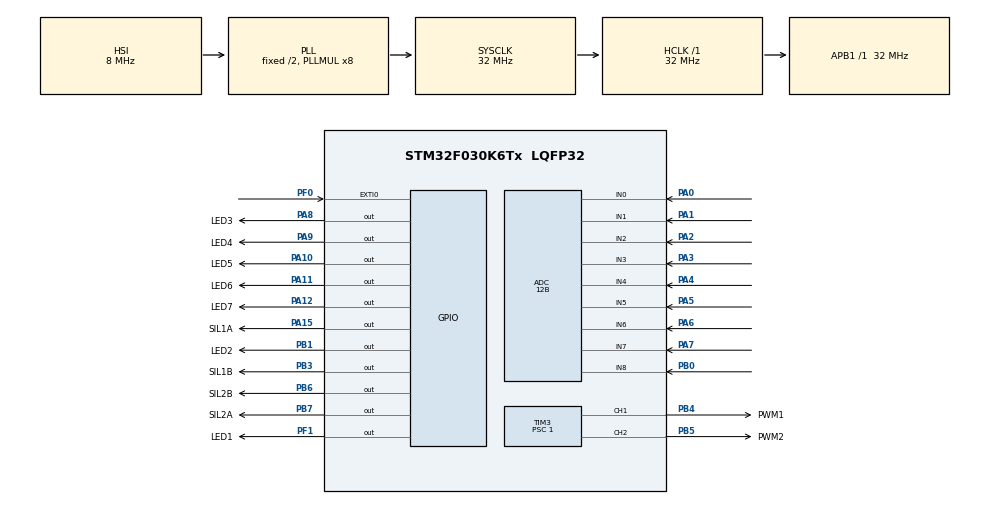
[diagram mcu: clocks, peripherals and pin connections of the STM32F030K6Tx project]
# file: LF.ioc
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ADC.ClockPrescaler=ADC_CLOCK_ASYNC_DIV1
ADC.ContinuousConvMode=ENABLE
ADC.DMAContinuousRequests=ENABLE
ADC.DataAlign=ADC_DATAALIGN_RIGHT
ADC.DiscontinuousConvMode=DISABLE
ADC.EOCSelection=ADC_EOC_SEQ_CONV
ADC.EnableAnalogWatchDog=false
ADC.ExternalTrigConv=ADC_SOFTWARE_START
ADC.ExternalTrigConvEdge=ADC_EXTERNALTRIGCONVEDGE_NONE
ADC.LowPowerAutoPowerOff=DISABLE
ADC.LowPowerAutoWait=DISABLE
ADC.Overrun=ADC_OVR_DATA_PRESERVED
ADC.Resolution=ADC_RESOLUTION_12B
ADC.SamplingTime=ADC_SAMPLETIME_239CYCLES_5
ADC.ScanConvMode=ADC_SCAN_DIRECTION_FORWARD
Dma.ADC.0.Direction=DMA_PERIPH_TO_MEMORY
Dma.ADC.0.Instance=DMA1_Channel1
Dma.ADC.0.MemDataAlignment=DMA_MDATAALIGN_HALFWORD
Dma.ADC.0.MemInc=DMA_MINC_ENABLE
Dma.ADC.0.Mode=DMA_CIRCULAR
Dma.ADC.0.PeriphDataAlignment=DMA_PDATAALIGN_HALFWORD
Dma.ADC.0.PeriphInc=DMA_PINC_DISABLE
Dma.ADC.0.Priority=DMA_PRIORITY_LOW
Dma.Request0=ADC
Mcu.Family=STM32F0
Mcu.Name=STM32F030K6Tx
Mcu.Package=LQFP32
NVIC.DMA1_Channel1_IRQn=true\:0\:0\:false\:false\:true
PA0.Mode=IN0
PA0.Signal=ADC_IN0
PA1.Mode=IN1
PA1.Signal=ADC_IN1
PA10.GPIO_FMA10=__NULL
PA10.GPIO_Label=LED5
PA10.GPIO_ModeDefaultOutputPP=GPIO_MODE_OUTPUT_PP
PA10.GPIO_PuPd=GPIO_NOPULL
PA10.GPIO_Speed=GPIO_SPEED_FREQ_LOW
PA10.PinState=GPIO_PIN_RESET
PA10.Signal=GPIO_Output
PA11.GPIO_Label=LED6
PA11.GPIO_ModeDefaultOutputPP=GPIO_MODE_OUTPUT_PP
PA11.GPIO_PuPd=GPIO_NOPULL
PA11.GPIO_Speed=GPIO_SPEED_FREQ_LOW
PA11.PinState=GPIO_PIN_RESET
PA11.Signal=GPIO_Output
PA12.GPIO_Label=LED7
PA12.GPIO_ModeDefaultOutputPP=GPIO_MODE_OUTPUT_PP
PA12.GPIO_PuPd=GPIO_NOPULL
PA12.GPIO_Speed=GPIO_SPEED_FREQ_LOW
PA12.PinState=GPIO_PIN_RESET
PA12.Signal=GPIO_Output
PA13.Mode=Serial_Wire
PA13.Signal=SYS_SWDIO
PA14.Mode=Serial_Wire
PA14.Signal=SYS_SWCLK
PA15.GPIO_Label=SIL1A
PA15.GPIO_ModeDefaultOutputPP=GPIO_MODE_OUTPUT_PP
PA15.GPIO_PuPd=GPIO_NOPULL
PA15.GPIO_Speed=GPIO_SPEED_FREQ_LOW
PA15.PinState=GPIO_PIN_RESET
PA15.Signal=GPIO_Output
PA2.Mode=IN2
PA2.Signal=ADC_IN2
PA3.Mode=IN3
PA3.Signal=ADC_IN3
PA4.Mode=IN4
PA4.Signal=ADC_IN4
PA5.Mode=IN5
PA5.Signal=ADC_IN5
PA6.Mode=IN6
PA6.Signal=ADC_IN6
PA7.Mode=IN7
PA7.Signal=ADC_IN7
PA8.GPIO_Label=LED3
PA8.GPIO_ModeDefaultOutputPP=GPIO_MODE_OUTPUT_PP
PA8.GPIO_PuPd=GPIO_NOPULL
PA8.GPIO_Speed=GPIO_SPEED_FREQ_LOW
PA8.PinState=GPIO_PIN_RESET
PA8.Signal=GPIO_Output
PA9.GPIO_FMA9=__NULL
PA9.GPIO_Label=LED4
PA9.GPIO_ModeDefaultOutputPP=GPIO_MODE_OUTPUT_PP
PA9.GPIO_PuPd=GPIO_NOPULL
PA9.GPIO_Speed=GPIO_SPEED_FREQ_LOW
PA9.PinState=GPIO_PIN_RESET
PA9.Signal=GPIO_Output
PB0.Mode=IN8
PB0.Signal=ADC_IN8
PB1.GPIO_Label=LED2
PB1.Signal=GPIO_Output
PB3.GPIO_Label=SIL1B
PB3.GPIO_ModeDefaultOutputPP=GPIO_MODE_OUTPUT_PP
PB3.GPIO_PuPd=GPIO_NOPULL
PB3.GPIO_Speed=GPIO_SPEED_FREQ_LOW
PB3.PinState=GPIO_PIN_RESET
PB3.Signal=GPIO_Output
PB4.GPIO_Label=PWM1
PB4.GPIO_ModeDefaultPP=GPIO_MODE_AF_PP
PB4.GPIO_PuPd=GPIO_NOPULL
PB4.GPIO_Speed=GPIO_SPEED_FREQ_LOW
PB4.Signal=S_TIM3_CH1
PB5.GPIO_Label=PWM2
PB5.GPIO_ModeDefaultPP=GPIO_MODE_AF_PP
PB5.GPIO_PuPd=GPIO_NOPULL
PB5.GPIO_Speed=GPIO_SPEED_FREQ_LOW
PB5.Signal=S_TIM3_CH2
PB6.GPIO_FM6=__NULL
PB6.GPIO_Label=SIL2B
PB6.GPIO_ModeDefaultOutputPP=GPIO_MODE_OUTPUT_PP
PB6.GPIO_PuPd=GPIO_NOPULL
PB6.GPIO_Speed=GPIO_SPEED_FREQ_LOW
PB6.PinState=GPIO_PIN_RESET
PB6.Signal=GPIO_Output
PB7.GPIO_FM7=__NULL
PB7.GPIO_Label=SIL2A
PB7.GPIO_ModeDefaultOutputPP=GPIO_MODE_OUTPUT_PP
PB7.GPIO_PuPd=GPIO_NOPULL
PB7.GPIO_Speed=GPIO_SPEED_FREQ_LOW
PB7.PinState=GPIO_PIN_RESET
PB7.Signal=GPIO_Output
PF0-OSC_IN.GPIO_ModeDefaultEXTI=GPIO_MODE_IT_RISING
PF0-OSC_IN.GPIO_PuPd=GPIO_NOPULL
PF0-OSC_IN.Signal=GPXTI0
PF1-OSC_OUT.GPIO_Label=LED1
PF1-OSC_OUT.GPIO_ModeDefaultOutputPP=GPIO_MODE_OUTPUT_PP
PF1-OSC_OUT.GPIO_PuPd=GPIO_NOPULL
PF1-OSC_OUT.GPIO_Speed=GPIO_SPEED_FREQ_LOW
PF1-OSC_OUT.PinState=GPIO_PIN_RESET
PF1-OSC_OUT.Signal=GPIO_Output
ProjectManager.HeapSize=0x200
ProjectManager.StackSize=0x400
ProjectManager.TargetToolchain=SW4STM32
RCC.AHBFreq_Value=32000000
RCC.APB1Freq_Value=32000000
RCC.APB1TimFreq_Value=32000000
RCC.HCLKFreq_Value=32000000
RCC.PLLMUL=RCC_PLL_MUL8
RCC.SYSCLKFreq_VALUE=32000000
RCC.SYSCLKSource=RCC_SYSCLKSOURCE_PLLCLK
SH.S_TIM3_CH1.0=TIM3_CH1,PWM Generation1 CH1
SH.S_TIM3_CH2.0=TIM3_CH2,PWM Generation2 CH2
TIM3.AutoReloadPreload=TIM_AUTORELOAD_PRELOAD_DISABLE
TIM3.Channel-PWM\ Generation2\ CH2=TIM_CHANNEL_2
TIM3.Period=99
TIM3.Prescaler=1
TIM3.TIM_MasterOutputTrigger=TIM_TRGO_OC1
VP_TIM3_VS_ClockSourceINT.Mode=Internal
board=LF

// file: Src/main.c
/**
  ******************************************************************************
  * File Name          : main.c
  * Description        : Main program body
  ******************************************************************************
  *
  * COPYRIGHT(c) 2016 STMicroelectronics
  *
  * Redistribution and use in source and binary forms, with or without modification,
  * are permitted provided that the following conditions are met:
  *   1. Redistributions of source code must retain the above copyright notice,
  *      this list of conditions and the following disclaimer.
  *   2. Redistributions in binary form must reproduce the above copyright notice,
  *      this list of conditions and the following disclaimer in the documentation
  *      and/or other materials provided with the distribution.
  *   3. Neither the name of STMicroelectronics nor the names of its contributors
  *      may be used to endorse or promote products derived from this software
  *      without specific prior written permission.
  *
  * THIS SOFTWARE IS PROVIDED BY THE COPYRIGHT HOLDERS AND CONTRIBUTORS "AS IS"
  * AND ANY EXPRESS OR IMPLIED WARRANTIES, INCLUDING, BUT NOT LIMITED TO, THE
  * IMPLIED WARRANTIES OF MERCHANTABILITY AND FITNESS FOR A PARTICULAR PURPOSE ARE
  * DISCLAIMED. IN NO EVENT SHALL THE COPYRIGHT HOLDER OR CONTRIBUTORS BE LIABLE
  * FOR ANY DIRECT, INDIRECT, INCIDENTAL, SPECIAL, EXEMPLARY, OR CONSEQUENTIAL
  * DAMAGES (INCLUDING, BUT NOT LIMITED TO, PROCUREMENT OF SUBSTITUTE GOODS OR
  * SERVICES; LOSS OF USE, DATA, OR PROFITS; OR BUSINESS INTERRUPTION) HOWEVER
  * CAUSED AND ON ANY THEORY OF LIABILITY, WHETHER IN CONTRACT, STRICT LIABILITY,
  * OR TORT (INCLUDING NEGLIGENCE OR OTHERWISE) ARISING IN ANY WAY OUT OF THE USE
  * OF THIS SOFTWARE, EVEN IF ADVISED OF THE POSSIBILITY OF SUCH DAMAGE.
  *
  ******************************************************************************
  */
#include "main.h"
#include "stm32f0xx_hal.h"

/* USER CODE BEGIN Includes */

#define KTIR 8

/* USER CODE END Includes */

ADC_HandleTypeDef hadc;
DMA_HandleTypeDef hdma_adc;

TIM_HandleTypeDef htim3;

/* USER CODE BEGIN PV */
/* Private variables ---------------------------------------------------------*/

uint32_t ktiry[KTIR];
int32_t prog = 0;
int16_t waga = {-40, -20, -10, 0, 0, 10, 20, 40};
int err = 0;
int wyjechal = 0;
int bledzik, Kp=1, Kd=0, popbledzik = 0;
int V = 40;

/* USER CODE END PV */

void SystemClock_Config(void);
void Error_Handler(void);
static void MX_GPIO_Init(void);
static void MX_DMA_Init(void);
static void MX_ADC_Init(void);
static void MX_TIM3_Init(void);

void HAL_TIM_MspPostInit(TIM_HandleTypeDef *htim);

/* USER CODE BEGIN PFP */
/* Private function prototypes -----------------------------------------------*/

void PWM(uint16_t r, uint16_t l);
int16_t blad();
int PD();
void kalibracja();
void odczyt();

/* USER CODE END PFP */

int main(void)
{

  /* MCU Configuration----------------------------------------------------------*/

  /* Reset of all peripherals, Initializes the Flash interface and the Systick. */
  HAL_Init();

  /* Configure the system clock */
  SystemClock_Config();

  /* Initialize all configured peripherals */
  MX_GPIO_Init();
  MX_DMA_Init();
  MX_ADC_Init();
  MX_TIM3_Init();

  /* USER CODE BEGIN 2 */

  HAL_TIM_PWM_Start(&htim3, TIM_CHANNEL_1);
  HAL_TIM_PWM_Start(&htim3, TIM_CHANNEL_2);
  HAL_ADC_Start_DMA(&hadc, ktiry, KTIR);

  kalibracja();
  /* USER CODE END 2 */

  /* Infinite loop */
  while (1)
  {

  /* USER CODE BEGIN 3 */
	  odczyt();
  	  bledzik = blad();
	  int regulacja = PD();
	  PWM(V+regulacja, V-regulacja);
  }
  /* USER CODE END 3 */

}

/** System Clock Configuration
*/
void SystemClock_Config(void)
{

  RCC_OscInitTypeDef RCC_OscInitStruct;
  RCC_ClkInitTypeDef RCC_ClkInitStruct;

    /**Initializes the CPU, AHB and APB busses clocks
    */
  RCC_OscInitStruct.OscillatorType = RCC_OSCILLATORTYPE_HSI|RCC_OSCILLATORTYPE_HSI14;
  RCC_OscInitStruct.HSIState = RCC_HSI_ON;
  RCC_OscInitStruct.HSI14State = RCC_HSI14_ON;
  RCC_OscInitStruct.HSICalibrationValue = 16;
  RCC_OscInitStruct.HSI14CalibrationValue = 16;
  RCC_OscInitStruct.PLL.PLLState = RCC_PLL_ON;
  RCC_OscInitStruct.PLL.PLLSource = RCC_PLLSOURCE_HSI;
  RCC_OscInitStruct.PLL.PLLMUL = RCC_PLL_MUL8;
  RCC_OscInitStruct.PLL.PREDIV = RCC_PREDIV_DIV1;
  if (HAL_RCC_OscConfig(&RCC_OscInitStruct) != HAL_OK)
  {
    Error_Handler();
  }

    /**Initializes the CPU, AHB and APB busses clocks
    */
  RCC_ClkInitStruct.ClockType = RCC_CLOCKTYPE_HCLK|RCC_CLOCKTYPE_SYSCLK
                              |RCC_CLOCKTYPE_PCLK1;
  RCC_ClkInitStruct.SYSCLKSource = RCC_SYSCLKSOURCE_PLLCLK;
  RCC_ClkInitStruct.AHBCLKDivider = RCC_SYSCLK_DIV1;
  RCC_ClkInitStruct.APB1CLKDivider = RCC_HCLK_DIV1;

  if (HAL_RCC_ClockConfig(&RCC_ClkInitStruct, FLASH_LATENCY_1) != HAL_OK)
  {
    Error_Handler();
  }

    /**Configure the Systick interrupt time
    */
  HAL_SYSTICK_Config(HAL_RCC_GetHCLKFreq()/1000);

    /**Configure the Systick
    */
  HAL_SYSTICK_CLKSourceConfig(SYSTICK_CLKSOURCE_HCLK);

  /* SysTick_IRQn interrupt configuration */
  HAL_NVIC_SetPriority(SysTick_IRQn, 0, 0);
}

/* ADC init function */
static void MX_ADC_Init(void)
{

  ADC_ChannelConfTypeDef sConfig;

    /**Configure the global features of the ADC (Clock, Resolution, Data Alignment and number of conversion)
    */
  hadc.Instance = ADC1;
  hadc.Init.ClockPrescaler = ADC_CLOCK_ASYNC_DIV1;
  hadc.Init.Resolution = ADC_RESOLUTION_12B;
  hadc.Init.DataAlign = ADC_DATAALIGN_RIGHT;
  hadc.Init.ScanConvMode = ADC_SCAN_DIRECTION_FORWARD;
  hadc.Init.EOCSelection = ADC_EOC_SEQ_CONV;
  hadc.Init.LowPowerAutoWait = DISABLE;
  hadc.Init.LowPowerAutoPowerOff = DISABLE;
  hadc.Init.ContinuousConvMode = ENABLE;
  hadc.Init.DiscontinuousConvMode = DISABLE;
  hadc.Init.ExternalTrigConv = ADC_SOFTWARE_START;
  hadc.Init.ExternalTrigConvEdge = ADC_EXTERNALTRIGCONVEDGE_NONE;
  hadc.Init.DMAContinuousRequests = ENABLE;
  hadc.Init.Overrun = ADC_OVR_DATA_PRESERVED;
  if (HAL_ADC_Init(&hadc) != HAL_OK)
  {
    Error_Handler();
  }

    /**Configure for the selected ADC regular channel to be converted.
    */
  sConfig.Channel = ADC_CHANNEL_0;
  sConfig.Rank = ADC_RANK_CHANNEL_NUMBER;
  sConfig.SamplingTime = ADC_SAMPLETIME_239CYCLES_5;
  if (HAL_ADC_ConfigChannel(&hadc, &sConfig) != HAL_OK)
  {
    Error_Handler();
  }

    /**Configure for the selected ADC regular channel to be converted.
    */
  sConfig.Channel = ADC_CHANNEL_1;
  if (HAL_ADC_ConfigChannel(&hadc, &sConfig) != HAL_OK)
  {
    Error_Handler();
  }

    /**Configure for the selected ADC regular channel to be converted.
    */
  sConfig.Channel = ADC_CHANNEL_2;
  if (HAL_ADC_ConfigChannel(&hadc, &sConfig) != HAL_OK)
  {
    Error_Handler();
  }

    /**Configure for the selected ADC regular channel to be converted.
    */
  sConfig.Channel = ADC_CHANNEL_3;
  if (HAL_ADC_ConfigChannel(&hadc, &sConfig) != HAL_OK)
  {
    Error_Handler();
  }

    /**Configure for the selected ADC regular channel to be converted.
    */
  sConfig.Channel = ADC_CHANNEL_4;
  if (HAL_ADC_ConfigChannel(&hadc, &sConfig) != HAL_OK)
  {
    Error_Handler();
  }

    /**Configure for the selected ADC regular channel to be converted.
    */
  sConfig.Channel = ADC_CHANNEL_5;
  if (HAL_ADC_ConfigChannel(&hadc, &sConfig) != HAL_OK)
  {
    Error_Handler();
  }

    /**Configure for the selected ADC regular channel to be converted.
    */
  sConfig.Channel = ADC_CHANNEL_6;
  if (HAL_ADC_ConfigChannel(&hadc, &sConfig) != HAL_OK)
  {
    Error_Handler();
  }

    /**Configure for the selected ADC regular channel to be converted.
    */
  sConfig.Channel = ADC_CHANNEL_7;
  if (HAL_ADC_ConfigChannel(&hadc, &sConfig) != HAL_OK)
  {
    Error_Handler();
  }

    /**Configure for the selected ADC regular channel to be converted.
    */
  sConfig.Channel = ADC_CHANNEL_8;
  if (HAL_ADC_ConfigChannel(&hadc, &sConfig) != HAL_OK)
  {
    Error_Handler();
  }

}

/* TIM3 init function */
static void MX_TIM3_Init(void)
{

  TIM_ClockConfigTypeDef sClockSourceConfig;
  TIM_MasterConfigTypeDef sMasterConfig;
  TIM_OC_InitTypeDef sConfigOC;

  htim3.Instance = TIM3;
  htim3.Init.Prescaler = 1;
  htim3.Init.CounterMode = TIM_COUNTERMODE_UP;
  htim3.Init.Period = 99;
  htim3.Init.ClockDivision = TIM_CLOCKDIVISION_DIV1;
//  htim3.Init.AutoReloadPreload = TIM_AUTORELOAD_PRELOAD_DISABLE;
  if (HAL_TIM_Base_Init(&htim3) != HAL_OK)
  {
    Error_Handler();
  }

  sClockSourceConfig.ClockSource = TIM_CLOCKSOURCE_INTERNAL;
  if (HAL_TIM_ConfigClockSource(&htim3, &sClockSourceConfig) != HAL_OK)
  {
    Error_Handler();
  }

  if (HAL_TIM_PWM_Init(&htim3) != HAL_OK)
  {
    Error_Handler();
  }

  sMasterConfig.MasterOutputTrigger = TIM_TRGO_OC1;
  sMasterConfig.MasterSlaveMode = TIM_MASTERSLAVEMODE_DISABLE;
  if (HAL_TIMEx_MasterConfigSynchronization(&htim3, &sMasterConfig) != HAL_OK)
  {
    Error_Handler();
  }

  sConfigOC.OCMode = TIM_OCMODE_PWM1;
  sConfigOC.Pulse = 0;
  sConfigOC.OCPolarity = TIM_OCPOLARITY_HIGH;
  sConfigOC.OCFastMode = TIM_OCFAST_DISABLE;
  if (HAL_TIM_PWM_ConfigChannel(&htim3, &sConfigOC, TIM_CHANNEL_1) != HAL_OK)
  {
    Error_Handler();
  }

  if (HAL_TIM_PWM_ConfigChannel(&htim3, &sConfigOC, TIM_CHANNEL_2) != HAL_OK)
  {
    Error_Handler();
  }

  HAL_TIM_MspPostInit(&htim3);

}

static void MX_DMA_Init(void)
{
  /* DMA controller clock enable */
  __HAL_RCC_DMA1_CLK_ENABLE();

  /* DMA interrupt init */
  /* DMA1_Channel1_IRQn interrupt configuration */
  HAL_NVIC_SetPriority(DMA1_Channel1_IRQn, 0, 0);
  HAL_NVIC_EnableIRQ(DMA1_Channel1_IRQn);

}

/** Configure pins as
        * Analog
        * Input
        * Output
        * EVENT_OUT
        * EXTI
*/
static void MX_GPIO_Init(void)
{

  GPIO_InitTypeDef GPIO_InitStruct;

  /* GPIO Ports Clock Enable */
  __HAL_RCC_GPIOF_CLK_ENABLE();
  __HAL_RCC_GPIOA_CLK_ENABLE();
  __HAL_RCC_GPIOB_CLK_ENABLE();

  /*Configure GPIO pin : PF0 */
  GPIO_InitStruct.Pin = GPIO_PIN_0;
  GPIO_InitStruct.Mode = GPIO_MODE_IT_RISING;
  GPIO_InitStruct.Pull = GPIO_NOPULL;
  HAL_GPIO_Init(GPIOF, &GPIO_InitStruct);

  /*Configure GPIO pin : LED1_Pin */
  GPIO_InitStruct.Pin = LED1_Pin;
  GPIO_InitStruct.Mode = GPIO_MODE_OUTPUT_PP;
  GPIO_InitStruct.Pull = GPIO_NOPULL;
  GPIO_InitStruct.Speed = GPIO_SPEED_FREQ_LOW;
  HAL_GPIO_Init(LED1_GPIO_Port, &GPIO_InitStruct);

  /*Configure GPIO pins : LED2_Pin SIL1B_Pin SIL2B_Pin SIL2A_Pin */
  GPIO_InitStruct.Pin = LED2_Pin|SIL1B_Pin|SIL2B_Pin|SIL2A_Pin;
  GPIO_InitStruct.Mode = GPIO_MODE_OUTPUT_PP;
  GPIO_InitStruct.Pull = GPIO_NOPULL;
  GPIO_InitStruct.Speed = GPIO_SPEED_FREQ_LOW;
  HAL_GPIO_Init(GPIOB, &GPIO_InitStruct);

  /*Configure GPIO pins : LED3_Pin LED4_Pin LED5_Pin LED6_Pin
                           LED7_Pin SIL1A_Pin */
  GPIO_InitStruct.Pin = LED3_Pin|LED4_Pin|LED5_Pin|LED6_Pin
                          |LED7_Pin|SIL1A_Pin;
  GPIO_InitStruct.Mode = GPIO_MODE_OUTPUT_PP;
  GPIO_InitStruct.Pull = GPIO_NOPULL;
  GPIO_InitStruct.Speed = GPIO_SPEED_FREQ_LOW;
  HAL_GPIO_Init(GPIOA, &GPIO_InitStruct);

  /*Configure GPIO pin Output Level */
  HAL_GPIO_WritePin(LED1_GPIO_Port, LED1_Pin, GPIO_PIN_RESET);

  /*Configure GPIO pin Output Level */
  HAL_GPIO_WritePin(GPIOB, LED2_Pin|SIL1B_Pin|SIL2B_Pin|SIL2A_Pin, GPIO_PIN_RESET);

  /*Configure GPIO pin Output Level */
  HAL_GPIO_WritePin(GPIOA, LED3_Pin|LED4_Pin|LED5_Pin|LED6_Pin
                          |LED7_Pin|SIL1A_Pin, GPIO_PIN_RESET);

}

/* USER CODE BEGIN 4 */

void PWM(uint16_t r, uint16_t l)
{
	if(r>=0)
	{
		if(r>100)
			r=100;
		Set(SIL1A_GPIO_Port, SIL1A_Pin, 1);
		Set(SIL1B_GPIO_Port, SIL1B_Pin, 0);
	}
	else
	{
		if(r<-100)
			r=-100;
		r=-r;
		Set(SIL1A_GPIO_Port, SIL1A_Pin, 0);
		Set(SIL1B_GPIO_Port, SIL1B_Pin, 1);
	}

	if(l>=0)
	{
		if(l>100)
			l=100;
		Set(SIL2A_GPIO_Port, SIL2A_Pin, 1);
		Set(SIL2B_GPIO_Port, SIL2B_Pin, 0);
	}
	else
	{
		if(l<-100)
			l=-100;
		l=-l;
		Set(SIL2A_GPIO_Port, SIL2A_Pin, 0);
		Set(SIL2B_GPIO_Port, SIL2B_Pin, 1);
	}

	TIM3->CCR1 = r;
	TIM3->CCR2 = l;

}

void kalibracja()
{

	int bialy = ktiry[0];
	int czarny = ktiry[3];

	prog = bialy+(czarny-bialy)/2;

}

void odczyt()
{
	for(int i=0;i<4;i++)
		if(ktiry[i] > prog)
			ktiry[i] = 1;
		else ktiry[i] = 0;
}

int16_t blad()
{
	int pom = 0;
	int b = 0;
	int w = 0;
	int wagi[4] = {-20, 0, 10, 40};

	if(wyjechal) w = 5;

	for(int i=0;i<4;i++)
	{
		if(wyjechal)
			b+=ktiry[i]*w*(i-1);
		else b+=ktiry[i]*wagi[i]*(i-1);
		pom+=ktiry[i];
	}

	if(pom!=0)
	{
		b /= pom;
		err = b;
	}
	else
	{
		if(err < -20)
		{
			b = -40;
			wyjechal = 1;
		}
		else if(err > 20)
		{
			b = 30;
			wyjechal = 2;
		}
		else b = 0;
	}
	if((wyjechal == 1 && b >= 0)||(wyjechal == 2 && b <= 0))
		wyjechal = 0;

	return b;
}

int PD()
{
	int r = bledzik - popbledzik;
	popbledzik = bledzik;
	return Kp*bledzik+Kd*r;
}

/* USER CODE END 4 */

void Error_Handler(void)
{
  while(1)
  {
  }
}

/************************ (C) COPYRIGHT STMicroelectronics *****END OF FILE****/
